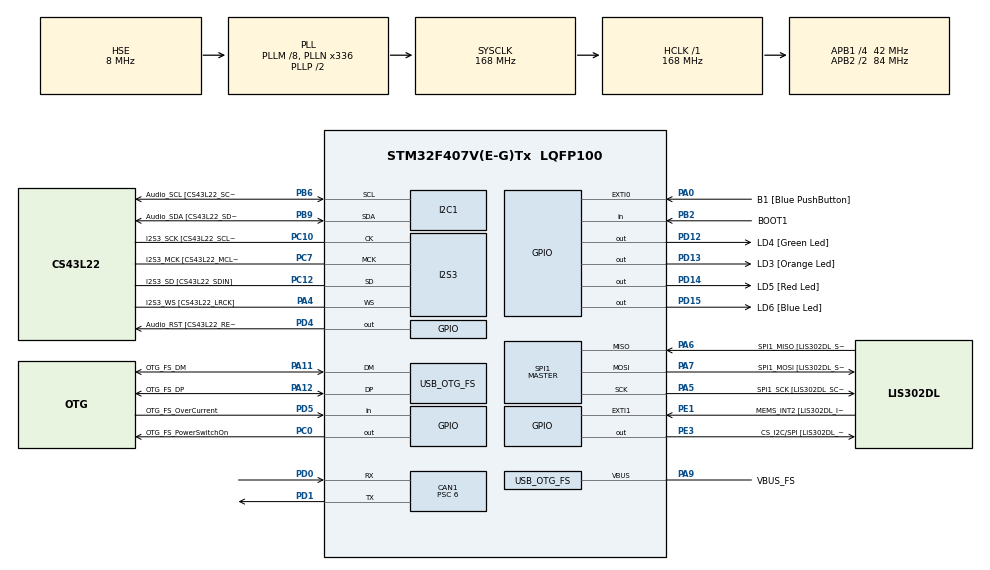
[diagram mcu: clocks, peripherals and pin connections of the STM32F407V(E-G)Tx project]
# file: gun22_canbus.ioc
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CAN1.BS1=CAN_BS1_11TQ
CAN1.BS2=CAN_BS2_2TQ
CAN1.CalculateBaudRate=500000
CAN1.CalculateTimeBit=2000
CAN1.CalculateTimeQuantum=142.85714285714286
CAN1.Prescaler=6
CAN1.SJW=CAN_SJW_2TQ
I2S3.AudioFreq-Half_Duplex_Master=I2S_AUDIOFREQ_96K
I2S3.ErrorAudioFreq=-2.34 %
I2S3.ErrorAudioFreq-Half_Duplex_Master=0.8 %
I2S3.FullDuplexMode=I2S_FULLDUPLEXMODE_DISABLE
I2S3.Instance=SPI$Index
I2S3.RealAudioFreq=93.75 KHz
I2S3.RealAudioFreq-Half_Duplex_Master=96.774 KHz
I2S3.VirtualMode=I2S_MODE_MASTER
Mcu.Family=STM32F4
Mcu.Name=STM32F407V(E-G)Tx
Mcu.Package=LQFP100
NVIC.CAN1_RX0_IRQn=true\:0\:0\:false\:false\:true\:true\:true\:true
NVIC.OTG_FS_IRQn=true\:0\:0\:false\:false\:true\:true\:true\:true
NVIC.PriorityGroup=NVIC_PRIORITYGROUP_0
PA0-WKUP.GPIO_Label=B1 [Blue PushButton]
PA0-WKUP.GPIO_ModeDefaultEXTI=GPIO_MODE_EVT_RISING
PA0-WKUP.GPIO_PuPd=GPIO_NOPULL
PA0-WKUP.Signal=GPXTI0
PA10.GPIO_Label=OTG_FS_ID
PA10.GPIO_Mode=GPIO_MODE_AF_PP
PA10.GPIO_PuPd=GPIO_NOPULL
PA10.GPIO_Speed=GPIO_SPEED_FREQ_LOW
PA10.Signal=USB_OTG_FS_ID
PA11.GPIO_Label=OTG_FS_DM
PA11.GPIO_Mode=GPIO_MODE_AF_PP
PA11.GPIO_PuPd=GPIO_NOPULL
PA11.GPIO_Speed=GPIO_SPEED_FREQ_LOW
PA11.Mode=Host_Only
PA11.Signal=USB_OTG_FS_DM
PA12.GPIO_Label=OTG_FS_DP
PA12.GPIO_Mode=GPIO_MODE_AF_PP
PA12.GPIO_PuPd=GPIO_NOPULL
PA12.GPIO_Speed=GPIO_SPEED_FREQ_LOW
PA12.Mode=Host_Only
PA12.Signal=USB_OTG_FS_DP
PA13.GPIO_Label=SWDIO
PA13.Mode=Serial_Wire
PA13.Signal=SYS_JTMS-SWDIO
PA14.GPIO_Label=SWCLK
PA14.Mode=Serial_Wire
PA14.Signal=SYS_JTCK-SWCLK
PA4.GPIO_Label=I2S3_WS [CS43L22_LRCK]
PA4.GPIO_Mode=GPIO_MODE_AF_PP
PA4.GPIO_PuPd=GPIO_NOPULL
PA4.GPIO_Speed=GPIO_SPEED_FREQ_LOW
PA4.Mode=Half_Duplex_Master
PA4.Signal=I2S3_WS
PA5.GPIO_Label=SPI1_SCK [LIS302DL_SCL/SPC]
PA5.GPIO_Mode=GPIO_MODE_AF_PP
PA5.GPIO_PuPd=GPIO_NOPULL
PA5.GPIO_Speed=GPIO_SPEED_FREQ_LOW
PA5.Mode=Full_Duplex_Master
PA5.Signal=SPI1_SCK
PA6.GPIO_Label=SPI1_MISO [LIS302DL_SDO]
PA6.GPIO_Mode=GPIO_MODE_AF_PP
PA6.GPIO_PuPd=GPIO_NOPULL
PA6.GPIO_Speed=GPIO_SPEED_FREQ_LOW
PA6.Mode=Full_Duplex_Master
PA6.Signal=SPI1_MISO
PA7.GPIO_Label=SPI1_MOSI [LIS302DL_SDA/SDI/SDO]
PA7.GPIO_Mode=GPIO_MODE_AF_PP
PA7.GPIO_PuPd=GPIO_NOPULL
PA7.GPIO_Speed=GPIO_SPEED_FREQ_LOW
PA7.Mode=Full_Duplex_Master
PA7.Signal=SPI1_MOSI
PA9.GPIO_Label=VBUS_FS
PA9.GPIO_Mode=GPIO_MODE_INPUT
PA9.GPIO_PuPd=GPIO_NOPULL
PA9.Mode=Activate_VBUS
PA9.Signal=USB_OTG_FS_VBUS
PB10.GPIO_Label=CLK_IN [MP45DT02_CLK]
PB10.GPIO_Mode=GPIO_MODE_AF_PP
PB10.GPIO_PuPd=GPIO_NOPULL
PB10.GPIO_Speed=GPIO_SPEED_FREQ_LOW
PB10.Signal=I2S2_CK
PB2.GPIO_Label=BOOT1
PB2.GPIO_Mode=GPIO_MODE_INPUT
PB2.GPIO_PuPd=GPIO_NOPULL
PB2.Signal=GPIO_Input
PB3.GPIO_Label=SWO
PB3.Signal=SYS_JTDO-SWO
PB6.GPIO_Label=Audio_SCL [CS43L22_SCL]
PB6.GPIO_Mode=GPIO_MODE_AF_OD
PB6.GPIO_Pu=GPIO_PULLUP
PB6.GPIO_PuPd=GPIO_NOPULL
PB6.GPIO_Speed=GPIO_SPEED_FREQ_LOW
PB6.Mode=I2C
PB6.Signal=I2C1_SCL
PB9.GPIO_Label=Audio_SDA [CS43L22_SDA]
PB9.GPIO_Mode=GPIO_MODE_AF_OD
PB9.GPIO_Pu=GPIO_PULLUP
PB9.GPIO_PuPd=GPIO_NOPULL
PB9.GPIO_Speed=GPIO_SPEED_FREQ_LOW
PB9.Mode=I2C
PB9.Signal=I2C1_SDA
PC0.GPIO_Label=OTG_FS_PowerSwitchOn
PC0.GPIO_PuPd=GPIO_NOPULL
PC0.GPIO_Speed=GPIO_SPEED_FREQ_LOW
PC0.PinState=GPIO_PIN_SET
PC0.Signal=GPIO_Output
PC10.GPIO_Label=I2S3_SCK [CS43L22_SCLK]
PC10.GPIO_Mode=GPIO_MODE_AF_PP
PC10.GPIO_PuPd=GPIO_NOPULL
PC10.GPIO_Speed=GPIO_SPEED_FREQ_LOW
PC10.Mode=Half_Duplex_Master
PC10.Signal=I2S3_CK
PC12.GPIO_Label=I2S3_SD [CS43L22_SDIN]
PC12.GPIO_Mode=GPIO_MODE_AF_PP
PC12.GPIO_PuPd=GPIO_NOPULL
PC12.GPIO_Speed=GPIO_SPEED_FREQ_LOW
PC12.Mode=Half_Duplex_Master
PC12.Signal=I2S3_SD
PC14-OSC32_IN.GPIO_Label=PC14-OSC32_IN
PC14-OSC32_IN.Mode=LSE-External-Oscillator
PC14-OSC32_IN.Signal=RCC_OSC32_IN
PC15-OSC32_OUT.GPIO_Label=PC15-OSC32_OUT
PC15-OSC32_OUT.Mode=LSE-External-Oscillator
PC15-OSC32_OUT.Signal=RCC_OSC32_OUT
PC3.GPIO_Label=PDM_OUT [MP45DT02_DOUT]
PC3.GPIO_Mode=GPIO_MODE_AF_PP
PC3.GPIO_PuPd=GPIO_NOPULL
PC3.GPIO_Speed=GPIO_SPEED_FREQ_LOW
PC3.Signal=I2S2_SD
PC7.GPIO_Label=I2S3_MCK [CS43L22_MCLK]
PC7.GPIO_Mode=GPIO_MODE_AF_PP
PC7.GPIO_PuPd=GPIO_NOPULL
PC7.GPIO_Speed=GPIO_SPEED_FREQ_LOW
PC7.Mode=Master_Clock_Activated
PC7.Signal=I2S3_MCK
PD0.Mode=CAN_Activate
PD0.Signal=CAN1_RX
PD1.Mode=CAN_Activate
PD1.Signal=CAN1_TX
PD12.GPIO_Label=LD4 [Green Led]
PD12.GPIO_PuPd=GPIO_NOPULL
PD12.GPIO_Speed=GPIO_SPEED_FREQ_LOW
PD12.Signal=GPIO_Output
PD13.GPIO_Label=LD3 [Orange Led]
PD13.GPIO_PuPd=GPIO_NOPULL
PD13.GPIO_Speed=GPIO_SPEED_FREQ_LOW
PD13.Signal=GPIO_Output
PD14.GPIO_Label=LD5 [Red Led]
PD14.GPIO_PuPd=GPIO_NOPULL
PD14.GPIO_Speed=GPIO_SPEED_FREQ_LOW
PD14.Signal=GPIO_Output
PD15.GPIO_Label=LD6 [Blue Led]
PD15.GPIO_PuPd=GPIO_NOPULL
PD15.GPIO_Speed=GPIO_SPEED_FREQ_LOW
PD15.Signal=GPIO_Output
PD4.GPIO_Label=Audio_RST [CS43L22_RESET]
PD4.GPIO_PuPd=GPIO_NOPULL
PD4.GPIO_Speed=GPIO_SPEED_FREQ_LOW
PD4.Signal=GPIO_Output
PD5.GPIO_Label=OTG_FS_OverCurrent
PD5.GPIO_Mode=GPIO_MODE_INPUT
PD5.GPIO_PuPd=GPIO_NOPULL
PD5.Signal=GPIO_Input
PE1.GPIO_Label=MEMS_INT2 [LIS302DL_INT2]
PE1.GPIO_ModeDefaultEXTI=GPIO_MODE_EVT_RISING
PE1.GPIO_PuPd=GPIO_NOPULL
PE1.Signal=GPXTI1
PE3.GPIO_Label=CS_I2C/SPI [LIS302DL_CS_I2C/SPI]
PE3.GPIO_PuPd=GPIO_NOPULL
PE3.GPIO_Speed=GPIO_SPEED_FREQ_LOW
PE3.Signal=GPIO_Output
PH0-OSC_IN.GPIO_Label=PH0-OSC_IN
PH0-OSC_IN.Mode=HSE-External-Oscillator
PH0-OSC_IN.Signal=RCC_OSC_IN
PH1-OSC_OUT.GPIO_Label=PH1-OSC_OUT
PH1-OSC_OUT.Mode=HSE-External-Oscillator
PH1-OSC_OUT.Signal=RCC_OSC_OUT
ProjectManager.HeapSize=0x200
ProjectManager.StackSize=0x400
ProjectManager.TargetToolchain=STM32CubeIDE
RCC.48MHZClocksFreq_Value=48000000
RCC.AHBFreq_Value=168000000
RCC.APB1CLKDivider=RCC_HCLK_DIV4
RCC.APB1Freq_Value=42000000
RCC.APB1TimFreq_Value=84000000
RCC.APB2CLKDivider=RCC_HCLK_DIV2
RCC.APB2Freq_Value=84000000
RCC.APB2TimFreq_Value=168000000
RCC.CortexFreq_Value=168000000
RCC.HCLKFreq_Value=168000000
RCC.HSE_VALUE=8000000
RCC.HSI_VALUE=16000000
RCC.PLLM=8
RCC.PLLN=336
RCC.PLLQ=7
RCC.SYSCLKFreq_VALUE=168000000
RCC.SYSCLKSource=RCC_SYSCLKSOURCE_PLLCLK
RCC.VCOOutputFreq_Value=336000000
SPI1.BaudRatePrescaler-Full_Duplex_Master=SPI_BAUDRATEPRESCALER_2
SPI1.CalculateBaudRate-Full_Duplex_Master=42.0 MBits/s
SPI1.Direction=SPI_DIRECTION_2LINES
SPI1.Mode=SPI_MODE_MASTER
SPI1.Mode-Full_Duplex_Master=SPI_MODE_MASTER
SPI1.VirtualType=VM_MASTER
USB_HOST.BSP.number=1
USB_HOST.USBH_HandleTypeDef-CDC_FS=hUsbHostFS
USB_HOST.VirtualModeFS=Cdc
USB_HOST0.BSP.STBoard=false
USB_HOST0.BSP.api=Unknown
USB_HOST0.BSP.i2caddr=0
USB_HOST0.BSP.i2creg=0
USB_HOST0.BSP.instance=PC0
USB_HOST0.BSP.ip=GPIO
USB_HOST0.BSP.mode=Output
USB_HOST0.BSP.name=Drive_VBUS_FS
USB_HOST0.BSP.solution=PC0
USB_OTG_FS.VirtualMode=Host_Only
USB_OTG_FS.phy_itface=HCD_PHY_EMBEDDED
VP_USB_HOST_VS_USB_HOST_CDC_FS.Mode=CDC_FS
board=STM32F407G-DISC1

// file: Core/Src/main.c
/* USER CODE BEGIN Header */
/**
  ******************************************************************************
  * @file           : main.c
  * @brief          : Main program body
  ******************************************************************************
  * @attention
  *
  * Copyright (c) 2022 STMicroelectronics.
  * All rights reserved.
  *
  * This software is licensed under terms that can be found in the LICENSE file
  * in the root directory of this software component.
  * If no LICENSE file comes with this software, it is provided AS-IS.
  *
  ******************************************************************************
  */
/* USER CODE END Header */
#include "main.h"
#include "usb_host.h"

 CAN_HandleTypeDef hcan1;

I2C_HandleTypeDef hi2c1;

I2S_HandleTypeDef hi2s3;

SPI_HandleTypeDef hspi1;

/* USER CODE BEGIN PV */
CAN_TxHeaderTypeDef TxHeader;
CAN_RxHeaderTypeDef RxHeader;

uint8_t TxData[8];
uint8_t RxData[8];

uint32_t TxMailbox;

uint8_t datacheck=0;

/* USER CODE END PV */

void SystemClock_Config(void);
static void MX_GPIO_Init(void);
static void MX_I2C1_Init(void);
static void MX_I2S3_Init(void);
static void MX_SPI1_Init(void);
static void MX_CAN1_Init(void);
void MX_USB_HOST_Process(void);

/* USER CODE BEGIN PFP */
void HAL_CAN_RxFifo0MsgPendingCallback(CAN_HandleTypeDef *hcan)
{
	HAL_CAN_GetRxMessage(hcan, CAN_RX_FIFO0, &RxHeader, RxData);
	if(RxHeader.DLC == 4)
	{
		datacheck=1;
	}
}
/* USER CODE END PFP */

int main(void)
{

  /* MCU Configuration--------------------------------------------------------*/

  /* Reset of all peripherals, Initializes the Flash interface and the Systick. */
  HAL_Init();

  /* Configure the system clock */
  SystemClock_Config();

  /* Initialize all configured peripherals */
  MX_GPIO_Init();
  MX_I2C1_Init();
  MX_I2S3_Init();
  MX_SPI1_Init();
  MX_USB_HOST_Init();
  MX_CAN1_Init();
  /* USER CODE BEGIN 2 */
HAL_CAN_Start(&hcan1);

HAL_CAN_ActivateNotification(&hcan1, CAN_IT_RX_FIFO0_MSG_PENDING);

TxHeader.DLC=4;
TxHeader.IDE = CAN_ID_STD;
TxHeader.StdId= 0x234;
TxHeader.RTR = CAN_RTR_DATA;

TxData[0]= 0x43;
TxData[1]= 0x43;
TxData[2]= 0x43;
TxData[3]= 0x43;

  /* USER CODE END 2 */

  /* Infinite loop */
  while (1)
  {

    /* USER CODE BEGIN 3 */
    HAL_CAN_AddTxMessage(&hcan1, &TxHeader, TxData, &TxMailbox);
    HAL_Delay(1000);
    if(datacheck)
    {
    	HAL_GPIO_WritePin(GPIOD, GPIO_PIN_12,1);
    }
  }
  /* USER CODE END 3 */
}

void SystemClock_Config(void)
{
  RCC_OscInitTypeDef RCC_OscInitStruct = {0};
  RCC_ClkInitTypeDef RCC_ClkInitStruct = {0};

  /** Configure the main internal regulator output voltage
  */
  __HAL_RCC_PWR_CLK_ENABLE();
  __HAL_PWR_VOLTAGESCALING_CONFIG(PWR_REGULATOR_VOLTAGE_SCALE1);

  /** Initializes the RCC Oscillators according to the specified parameters
  * in the RCC_OscInitTypeDef structure.
  */
  RCC_OscInitStruct.OscillatorType = RCC_OSCILLATORTYPE_HSE;
  RCC_OscInitStruct.HSEState = RCC_HSE_ON;
  RCC_OscInitStruct.PLL.PLLState = RCC_PLL_ON;
  RCC_OscInitStruct.PLL.PLLSource = RCC_PLLSOURCE_HSE;
  RCC_OscInitStruct.PLL.PLLM = 8;
  RCC_OscInitStruct.PLL.PLLN = 336;
  RCC_OscInitStruct.PLL.PLLP = RCC_PLLP_DIV2;
  RCC_OscInitStruct.PLL.PLLQ = 7;
  if (HAL_RCC_OscConfig(&RCC_OscInitStruct) != HAL_OK)
  {
    Error_Handler();
  }

  /** Initializes the CPU, AHB and APB buses clocks
  */
  RCC_ClkInitStruct.ClockType = RCC_CLOCKTYPE_HCLK|RCC_CLOCKTYPE_SYSCLK
                              |RCC_CLOCKTYPE_PCLK1|RCC_CLOCKTYPE_PCLK2;
  RCC_ClkInitStruct.SYSCLKSource = RCC_SYSCLKSOURCE_PLLCLK;
  RCC_ClkInitStruct.AHBCLKDivider = RCC_SYSCLK_DIV1;
  RCC_ClkInitStruct.APB1CLKDivider = RCC_HCLK_DIV4;
  RCC_ClkInitStruct.APB2CLKDivider = RCC_HCLK_DIV2;

  if (HAL_RCC_ClockConfig(&RCC_ClkInitStruct, FLASH_LATENCY_5) != HAL_OK)
  {
    Error_Handler();
  }
}

static void MX_CAN1_Init(void)
{

  hcan1.Instance = CAN1;
  hcan1.Init.Prescaler = 6;
  hcan1.Init.Mode = CAN_MODE_NORMAL;
  hcan1.Init.SyncJumpWidth = CAN_SJW_2TQ;
  hcan1.Init.TimeSeg1 = CAN_BS1_11TQ;
  hcan1.Init.TimeSeg2 = CAN_BS2_2TQ;
  hcan1.Init.TimeTriggeredMode = DISABLE;
  hcan1.Init.AutoBusOff = DISABLE;
  hcan1.Init.AutoWakeUp = DISABLE;
  hcan1.Init.AutoRetransmission = DISABLE;
  hcan1.Init.ReceiveFifoLocked = DISABLE;
  hcan1.Init.TransmitFifoPriority = DISABLE;
  if (HAL_CAN_Init(&hcan1) != HAL_OK)
  {
    Error_Handler();
  }
  /* USER CODE BEGIN CAN1_Init 2 */
  CAN_FilterTypeDef canfilterconfig;

  canfilterconfig.FilterActivation = CAN_FILTER_ENABLE;
  canfilterconfig.FilterBank = 13;
  canfilterconfig.FilterFIFOAssignment = CAN_FILTER_FIFO0;
  canfilterconfig.FilterIdHigh = 0x103<<5;
  canfilterconfig.FilterIdLow = 0;
  canfilterconfig.FilterMaskIdHigh = 0x103<<5;
  canfilterconfig.FilterMaskIdLow = 0x0000;
  canfilterconfig.FilterMode = CAN_FILTERMODE_IDMASK;
  canfilterconfig.FilterScale = CAN_FILTERSCALE_32BIT;
  canfilterconfig.SlaveStartFilterBank = 14;

  HAL_CAN_ConfigFilter(&hcan1, &canfilterconfig);
  /* USER CODE END CAN1_Init 2 */

}

static void MX_I2C1_Init(void)
{

  hi2c1.Instance = I2C1;
  hi2c1.Init.ClockSpeed = 100000;
  hi2c1.Init.DutyCycle = I2C_DUTYCYCLE_2;
  hi2c1.Init.OwnAddress1 = 0;
  hi2c1.Init.AddressingMode = I2C_ADDRESSINGMODE_7BIT;
  hi2c1.Init.DualAddressMode = I2C_DUALADDRESS_DISABLE;
  hi2c1.Init.OwnAddress2 = 0;
  hi2c1.Init.GeneralCallMode = I2C_GENERALCALL_DISABLE;
  hi2c1.Init.NoStretchMode = I2C_NOSTRETCH_DISABLE;
  if (HAL_I2C_Init(&hi2c1) != HAL_OK)
  {
    Error_Handler();
  }

}

static void MX_I2S3_Init(void)
{

  hi2s3.Instance = SPI3;
  hi2s3.Init.Mode = I2S_MODE_MASTER_TX;
  hi2s3.Init.Standard = I2S_STANDARD_PHILIPS;
  hi2s3.Init.DataFormat = I2S_DATAFORMAT_16B;
  hi2s3.Init.MCLKOutput = I2S_MCLKOUTPUT_ENABLE;
  hi2s3.Init.AudioFreq = I2S_AUDIOFREQ_96K;
  hi2s3.Init.CPOL = I2S_CPOL_LOW;
  hi2s3.Init.ClockSource = I2S_CLOCK_PLL;
  hi2s3.Init.FullDuplexMode = I2S_FULLDUPLEXMODE_DISABLE;
  if (HAL_I2S_Init(&hi2s3) != HAL_OK)
  {
    Error_Handler();
  }

}

static void MX_SPI1_Init(void)
{

  /* SPI1 parameter configuration*/
  hspi1.Instance = SPI1;
  hspi1.Init.Mode = SPI_MODE_MASTER;
  hspi1.Init.Direction = SPI_DIRECTION_2LINES;
  hspi1.Init.DataSize = SPI_DATASIZE_8BIT;
  hspi1.Init.CLKPolarity = SPI_POLARITY_LOW;
  hspi1.Init.CLKPhase = SPI_PHASE_1EDGE;
  hspi1.Init.NSS = SPI_NSS_SOFT;
  hspi1.Init.BaudRatePrescaler = SPI_BAUDRATEPRESCALER_2;
  hspi1.Init.FirstBit = SPI_FIRSTBIT_MSB;
  hspi1.Init.TIMode = SPI_TIMODE_DISABLE;
  hspi1.Init.CRCCalculation = SPI_CRCCALCULATION_DISABLE;
  hspi1.Init.CRCPolynomial = 10;
  if (HAL_SPI_Init(&hspi1) != HAL_OK)
  {
    Error_Handler();
  }

}

static void MX_GPIO_Init(void)
{
  GPIO_InitTypeDef GPIO_InitStruct = {0};

  /* GPIO Ports Clock Enable */
  __HAL_RCC_GPIOE_CLK_ENABLE();
  __HAL_RCC_GPIOC_CLK_ENABLE();
  __HAL_RCC_GPIOH_CLK_ENABLE();
  __HAL_RCC_GPIOA_CLK_ENABLE();
  __HAL_RCC_GPIOB_CLK_ENABLE();
  __HAL_RCC_GPIOD_CLK_ENABLE();

  /*Configure GPIO pin Output Level */
  HAL_GPIO_WritePin(CS_I2C_SPI_GPIO_Port, CS_I2C_SPI_Pin, GPIO_PIN_RESET);

  /*Configure GPIO pin Output Level */
  HAL_GPIO_WritePin(OTG_FS_PowerSwitchOn_GPIO_Port, OTG_FS_PowerSwitchOn_Pin, GPIO_PIN_SET);

  /*Configure GPIO pin Output Level */
  HAL_GPIO_WritePin(GPIOD, LD4_Pin|LD3_Pin|LD5_Pin|LD6_Pin
                          |Audio_RST_Pin, GPIO_PIN_RESET);

  /*Configure GPIO pin : CS_I2C_SPI_Pin */
  GPIO_InitStruct.Pin = CS_I2C_SPI_Pin;
  GPIO_InitStruct.Mode = GPIO_MODE_OUTPUT_PP;
  GPIO_InitStruct.Pull = GPIO_NOPULL;
  GPIO_InitStruct.Speed = GPIO_SPEED_FREQ_LOW;
  HAL_GPIO_Init(CS_I2C_SPI_GPIO_Port, &GPIO_InitStruct);

  /*Configure GPIO pin : OTG_FS_PowerSwitchOn_Pin */
  GPIO_InitStruct.Pin = OTG_FS_PowerSwitchOn_Pin;
  GPIO_InitStruct.Mode = GPIO_MODE_OUTPUT_PP;
  GPIO_InitStruct.Pull = GPIO_NOPULL;
  GPIO_InitStruct.Speed = GPIO_SPEED_FREQ_LOW;
  HAL_GPIO_Init(OTG_FS_PowerSwitchOn_GPIO_Port, &GPIO_InitStruct);

  /*Configure GPIO pin : PDM_OUT_Pin */
  GPIO_InitStruct.Pin = PDM_OUT_Pin;
  GPIO_InitStruct.Mode = GPIO_MODE_AF_PP;
  GPIO_InitStruct.Pull = GPIO_NOPULL;
  GPIO_InitStruct.Speed = GPIO_SPEED_FREQ_LOW;
  GPIO_InitStruct.Alternate = GPIO_AF5_SPI2;
  HAL_GPIO_Init(PDM_OUT_GPIO_Port, &GPIO_InitStruct);

  /*Configure GPIO pin : B1_Pin */
  GPIO_InitStruct.Pin = B1_Pin;
  GPIO_InitStruct.Mode = GPIO_MODE_EVT_RISING;
  GPIO_InitStruct.Pull = GPIO_NOPULL;
  HAL_GPIO_Init(B1_GPIO_Port, &GPIO_InitStruct);

  /*Configure GPIO pin : BOOT1_Pin */
  GPIO_InitStruct.Pin = BOOT1_Pin;
  GPIO_InitStruct.Mode = GPIO_MODE_INPUT;
  GPIO_InitStruct.Pull = GPIO_NOPULL;
  HAL_GPIO_Init(BOOT1_GPIO_Port, &GPIO_InitStruct);

  /*Configure GPIO pin : CLK_IN_Pin */
  GPIO_InitStruct.Pin = CLK_IN_Pin;
  GPIO_InitStruct.Mode = GPIO_MODE_AF_PP;
  GPIO_InitStruct.Pull = GPIO_NOPULL;
  GPIO_InitStruct.Speed = GPIO_SPEED_FREQ_LOW;
  GPIO_InitStruct.Alternate = GPIO_AF5_SPI2;
  HAL_GPIO_Init(CLK_IN_GPIO_Port, &GPIO_InitStruct);

  /*Configure GPIO pins : LD4_Pin LD3_Pin LD5_Pin LD6_Pin
                           Audio_RST_Pin */
  GPIO_InitStruct.Pin = LD4_Pin|LD3_Pin|LD5_Pin|LD6_Pin
                          |Audio_RST_Pin;
  GPIO_InitStruct.Mode = GPIO_MODE_OUTPUT_PP;
  GPIO_InitStruct.Pull = GPIO_NOPULL;
  GPIO_InitStruct.Speed = GPIO_SPEED_FREQ_LOW;
  HAL_GPIO_Init(GPIOD, &GPIO_InitStruct);

  /*Configure GPIO pin : OTG_FS_OverCurrent_Pin */
  GPIO_InitStruct.Pin = OTG_FS_OverCurrent_Pin;
  GPIO_InitStruct.Mode = GPIO_MODE_INPUT;
  GPIO_InitStruct.Pull = GPIO_NOPULL;
  HAL_GPIO_Init(OTG_FS_OverCurrent_GPIO_Port, &GPIO_InitStruct);

  /*Configure GPIO pin : MEMS_INT2_Pin */
  GPIO_InitStruct.Pin = MEMS_INT2_Pin;
  GPIO_InitStruct.Mode = GPIO_MODE_EVT_RISING;
  GPIO_InitStruct.Pull = GPIO_NOPULL;
  HAL_GPIO_Init(MEMS_INT2_GPIO_Port, &GPIO_InitStruct);

}

void Error_Handler(void)
{
  __disable_irq();
  while (1)
  {
  }
}
